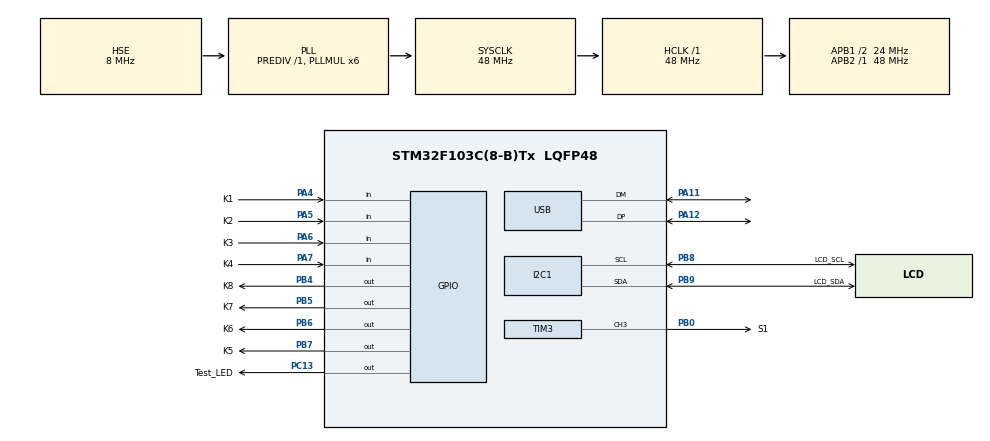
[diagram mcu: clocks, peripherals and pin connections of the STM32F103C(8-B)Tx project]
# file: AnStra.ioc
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Mcu.Family=STM32F1
Mcu.Name=STM32F103C(8-B)Tx
Mcu.Package=LQFP48
NVIC.PriorityGroup=NVIC_PRIORITYGROUP_4
NVIC.USB_LP_CAN1_RX0_IRQn=true\:0\:0\:false\:false\:true\:false\:true
PA11.Mode=Device
PA11.Signal=USB_DM
PA12.Mode=Device
PA12.Signal=USB_DP
PA13.Mode=Serial_Wire
PA13.Signal=SYS_JTMS-SWDIO
PA14.Mode=Serial_Wire
PA14.Signal=SYS_JTCK-SWCLK
PA4.GPIO_Label=K1
PA4.GPIO_PuPd=GPIO_PULLDOWN
PA4.Signal=GPIO_Input
PA5.GPIO_Label=K2
PA5.GPIO_PuPd=GPIO_PULLDOWN
PA5.Signal=GPIO_Input
PA6.GPIO_Label=K3
PA6.GPIO_PuPd=GPIO_PULLDOWN
PA6.Signal=GPIO_Input
PA7.GPIO_Label=K4
PA7.GPIO_PuPd=GPIO_PULLDOWN
PA7.Signal=GPIO_Input
PB0.GPIO_Label=S1
PB0.Signal=S_TIM3_CH3
PB4.GPIO_Label=K8
PB4.Signal=GPIO_Output
PB5.GPIO_Label=K7
PB5.Signal=GPIO_Output
PB6.GPIO_Label=K6
PB6.Signal=GPIO_Output
PB7.GPIO_Label=K5
PB7.Signal=GPIO_Output
PB8.GPIO_Label=LCD_SCL
PB8.Mode=I2C
PB8.Signal=I2C1_SCL
PB9.GPIO_Label=LCD_SDA
PB9.Mode=I2C
PB9.Signal=I2C1_SDA
PC13-TAMPER-RTC.GPIO_Label=Test_LED
PC13-TAMPER-RTC.Signal=GPIO_Output
PD0-OSC_IN.Mode=HSE-External-Oscillator
PD0-OSC_IN.Signal=RCC_OSC_IN
PD1-OSC_OUT.Mode=HSE-External-Oscillator
PD1-OSC_OUT.Signal=RCC_OSC_OUT
ProjectManager.HeapSize=0x200
ProjectManager.StackSize=0x400
ProjectManager.TargetToolchain=STM32CubeIDE
RCC.AHBFreq_Value=48000000
RCC.APB1CLKDivider=RCC_HCLK_DIV2
RCC.APB1Freq_Value=24000000
RCC.APB1TimFreq_Value=48000000
RCC.APB2Freq_Value=48000000
RCC.APB2TimFreq_Value=48000000
RCC.HCLKFreq_Value=48000000
RCC.PLLMUL=RCC_PLL_MUL6
RCC.PLLSourceVirtual=RCC_PLLSOURCE_HSE
RCC.SYSCLKFreq_VALUE=48000000
RCC.SYSCLKSource=RCC_SYSCLKSOURCE_PLLCLK
RCC.USBFreq_Value=48000000
SH.S_TIM3_CH3.0=TIM3_CH3,PWM Generation3 CH3
TIM3.Channel-PWM\ Generation3\ CH3=TIM_CHANNEL_3
TIM3.Period=20000-1
TIM3.Prescaler=48-1
USB_DEVICE.CLASS_NAME_FS=CDC
USB_DEVICE.VirtualMode=Cdc
USB_DEVICE.VirtualModeFS=Cdc_FS
VP_TIM3_VS_ClockSourceINT.Mode=Internal
VP_USB_DEVICE_VS_USB_DEVICE_CDC_FS.Mode=CDC_FS
board=custom

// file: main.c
/* USER CODE BEGIN Header */
/**
  ******************************************************************************
  * @file           : main.c
  * @brief          : Main program body
  ******************************************************************************
  * @attention
  *
  * <h2><center>&copy; Copyright (c) 2022 STMicroelectronics.
  * All rights reserved.</center></h2>
  *
  * This software component is licensed by ST under BSD 3-Clause license,
  * the "License"; You may not use this file except in compliance with the
  * License. You may obtain a copy of the License at:
  *                        opensource.org/licenses/BSD-3-Clause
  *
  ******************************************************************************
  */
/* USER CODE END Header */
#include "main.h"
#include "usb_device.h"

I2C_HandleTypeDef hi2c1;

TIM_HandleTypeDef htim3;

/* USER CODE BEGIN PV */

// klawiatura
int K[8];
GPIO_TypeDef* KI;
GPIO_TypeDef* KO;

int test = 2000;

/* USER CODE END PV */

void SystemClock_Config(void);
static void MX_GPIO_Init(void);
static void MX_TIM3_Init(void);
static void MX_I2C1_Init(void);

/* USER CODE BEGIN 0 */

// Obsługa wyświetlacza LCD
#include "lcd.h"

void blink(void){
	HAL_GPIO_TogglePin(Test_LED_GPIO_Port, Test_LED_Pin);
	HAL_Delay(100);
	HAL_GPIO_TogglePin(Test_LED_GPIO_Port, Test_LED_Pin);
	HAL_Delay(100);
}

// Serwo 1
void init_PWM(void){
	TIM3->CCR3 = 1500;
	HAL_TIM_PWM_Start(&htim3, TIM_CHANNEL_3);
}

void init_keyboard(void){
	K[0] = K1_Pin;
	K[1] = K2_Pin;
	K[2] = K3_Pin;
	K[3] = K4_Pin;
	K[4] = K5_Pin;
	K[5] = K6_Pin;
	K[6] = K7_Pin;
	K[7] = K8_Pin;

	KI = K1_GPIO_Port;
	KO = K5_GPIO_Port;
}

// Odczytaj numer przycisku klikniętego na klawiaturze (odczytany tylko o najniższym numerze)
// Numerowanie od lewego górnego rogu, od 0
int keyboard(void){
	for(int i=4; i<8; i++){
		HAL_GPIO_TogglePin(KO, K[i]);
		for(int j=0; j<4; j++)
			if( HAL_GPIO_ReadPin(KI, K[j]) ){
				HAL_GPIO_TogglePin(KO, K[i]);
				return (i-4)+j*4;
			}
		HAL_GPIO_TogglePin(KO, K[i]);
	}
	return -1;
}

/* USER CODE END 0 */

int main(void)
{

  /* MCU Configuration--------------------------------------------------------*/

  /* Reset of all peripherals, Initializes the Flash interface and the Systick. */
  HAL_Init();

  /* USER CODE BEGIN Init */
//	init_keyboard();

  /* USER CODE END Init */

  /* Configure the system clock */
  SystemClock_Config();

  /* Initialize all configured peripherals */
  MX_GPIO_Init();
  MX_USB_DEVICE_Init();
  MX_TIM3_Init();
  MX_I2C1_Init();
  /* USER CODE BEGIN 2 */

  lcd_init();

  /* USER CODE END 2 */

  /* Infinite loop */
  /* USER CODE BEGIN WHILE */

  char text[] = "Hello word";
  while (1)
  {
	  lcd_display(0b000);
	  lcd_clear();
	  for(int i=0;i<4;i++){
		  lcd_line(i);
		  lcd_send_string(text);
	  }
	  lcd_display(0b100);
	  HAL_Delay(300);

    /* USER CODE END WHILE */

  }
}

void SystemClock_Config(void)
{
  RCC_OscInitTypeDef RCC_OscInitStruct = {0};
  RCC_ClkInitTypeDef RCC_ClkInitStruct = {0};
  RCC_PeriphCLKInitTypeDef PeriphClkInit = {0};

  /** Initializes the RCC Oscillators according to the specified parameters
  * in the RCC_OscInitTypeDef structure.
  */
  RCC_OscInitStruct.OscillatorType = RCC_OSCILLATORTYPE_HSE;
  RCC_OscInitStruct.HSEState = RCC_HSE_ON;
  RCC_OscInitStruct.HSEPredivValue = RCC_HSE_PREDIV_DIV1;
  RCC_OscInitStruct.HSIState = RCC_HSI_ON;
  RCC_OscInitStruct.PLL.PLLState = RCC_PLL_ON;
  RCC_OscInitStruct.PLL.PLLSource = RCC_PLLSOURCE_HSE;
  RCC_OscInitStruct.PLL.PLLMUL = RCC_PLL_MUL6;
  if (HAL_RCC_OscConfig(&RCC_OscInitStruct) != HAL_OK)
  {
    Error_Handler();
  }
  /** Initializes the CPU, AHB and APB buses clocks
  */
  RCC_ClkInitStruct.ClockType = RCC_CLOCKTYPE_HCLK|RCC_CLOCKTYPE_SYSCLK
                              |RCC_CLOCKTYPE_PCLK1|RCC_CLOCKTYPE_PCLK2;
  RCC_ClkInitStruct.SYSCLKSource = RCC_SYSCLKSOURCE_PLLCLK;
  RCC_ClkInitStruct.AHBCLKDivider = RCC_SYSCLK_DIV1;
  RCC_ClkInitStruct.APB1CLKDivider = RCC_HCLK_DIV2;
  RCC_ClkInitStruct.APB2CLKDivider = RCC_HCLK_DIV1;

  if (HAL_RCC_ClockConfig(&RCC_ClkInitStruct, FLASH_LATENCY_1) != HAL_OK)
  {
    Error_Handler();
  }
  PeriphClkInit.PeriphClockSelection = RCC_PERIPHCLK_USB;
  PeriphClkInit.UsbClockSelection = RCC_USBCLKSOURCE_PLL;
  if (HAL_RCCEx_PeriphCLKConfig(&PeriphClkInit) != HAL_OK)
  {
    Error_Handler();
  }
}

static void MX_I2C1_Init(void)
{

  hi2c1.Instance = I2C1;
  hi2c1.Init.ClockSpeed = 100000;
  hi2c1.Init.DutyCycle = I2C_DUTYCYCLE_2;
  hi2c1.Init.OwnAddress1 = 0;
  hi2c1.Init.AddressingMode = I2C_ADDRESSINGMODE_7BIT;
  hi2c1.Init.DualAddressMode = I2C_DUALADDRESS_DISABLE;
  hi2c1.Init.OwnAddress2 = 0;
  hi2c1.Init.GeneralCallMode = I2C_GENERALCALL_DISABLE;
  hi2c1.Init.NoStretchMode = I2C_NOSTRETCH_DISABLE;
  if (HAL_I2C_Init(&hi2c1) != HAL_OK)
  {
    Error_Handler();
  }

}

static void MX_TIM3_Init(void)
{

  TIM_ClockConfigTypeDef sClockSourceConfig = {0};
  TIM_MasterConfigTypeDef sMasterConfig = {0};
  TIM_OC_InitTypeDef sConfigOC = {0};

  htim3.Instance = TIM3;
  htim3.Init.Prescaler = 48-1;
  htim3.Init.CounterMode = TIM_COUNTERMODE_UP;
  htim3.Init.Period = 20000-1;
  htim3.Init.ClockDivision = TIM_CLOCKDIVISION_DIV1;
  htim3.Init.AutoReloadPreload = TIM_AUTORELOAD_PRELOAD_DISABLE;
  if (HAL_TIM_Base_Init(&htim3) != HAL_OK)
  {
    Error_Handler();
  }
  sClockSourceConfig.ClockSource = TIM_CLOCKSOURCE_INTERNAL;
  if (HAL_TIM_ConfigClockSource(&htim3, &sClockSourceConfig) != HAL_OK)
  {
    Error_Handler();
  }
  if (HAL_TIM_PWM_Init(&htim3) != HAL_OK)
  {
    Error_Handler();
  }
  sMasterConfig.MasterOutputTrigger = TIM_TRGO_RESET;
  sMasterConfig.MasterSlaveMode = TIM_MASTERSLAVEMODE_DISABLE;
  if (HAL_TIMEx_MasterConfigSynchronization(&htim3, &sMasterConfig) != HAL_OK)
  {
    Error_Handler();
  }
  sConfigOC.OCMode = TIM_OCMODE_PWM1;
  sConfigOC.Pulse = 0;
  sConfigOC.OCPolarity = TIM_OCPOLARITY_HIGH;
  sConfigOC.OCFastMode = TIM_OCFAST_DISABLE;
  if (HAL_TIM_PWM_ConfigChannel(&htim3, &sConfigOC, TIM_CHANNEL_3) != HAL_OK)
  {
    Error_Handler();
  }
  HAL_TIM_MspPostInit(&htim3);

}

static void MX_GPIO_Init(void)
{
  GPIO_InitTypeDef GPIO_InitStruct = {0};

  /* GPIO Ports Clock Enable */
  __HAL_RCC_GPIOC_CLK_ENABLE();
  __HAL_RCC_GPIOD_CLK_ENABLE();
  __HAL_RCC_GPIOA_CLK_ENABLE();
  __HAL_RCC_GPIOB_CLK_ENABLE();

  /*Configure GPIO pin Output Level */
  HAL_GPIO_WritePin(Test_LED_GPIO_Port, Test_LED_Pin, GPIO_PIN_RESET);

  /*Configure GPIO pin Output Level */
  HAL_GPIO_WritePin(GPIOB, K8_Pin|K7_Pin|K6_Pin|K5_Pin, GPIO_PIN_RESET);

  /*Configure GPIO pin : Test_LED_Pin */
  GPIO_InitStruct.Pin = Test_LED_Pin;
  GPIO_InitStruct.Mode = GPIO_MODE_OUTPUT_PP;
  GPIO_InitStruct.Pull = GPIO_NOPULL;
  GPIO_InitStruct.Speed = GPIO_SPEED_FREQ_LOW;
  HAL_GPIO_Init(Test_LED_GPIO_Port, &GPIO_InitStruct);

  /*Configure GPIO pins : K1_Pin K2_Pin K3_Pin K4_Pin */
  GPIO_InitStruct.Pin = K1_Pin|K2_Pin|K3_Pin|K4_Pin;
  GPIO_InitStruct.Mode = GPIO_MODE_INPUT;
  GPIO_InitStruct.Pull = GPIO_PULLDOWN;
  HAL_GPIO_Init(GPIOA, &GPIO_InitStruct);

  /*Configure GPIO pins : K8_Pin K7_Pin K6_Pin K5_Pin */
  GPIO_InitStruct.Pin = K8_Pin|K7_Pin|K6_Pin|K5_Pin;
  GPIO_InitStruct.Mode = GPIO_MODE_OUTPUT_PP;
  GPIO_InitStruct.Pull = GPIO_NOPULL;
  GPIO_InitStruct.Speed = GPIO_SPEED_FREQ_LOW;
  HAL_GPIO_Init(GPIOB, &GPIO_InitStruct);

}

void Error_Handler(void)
{
}

/************************ (C) COPYRIGHT STMicroelectronics *****END OF FILE****/
